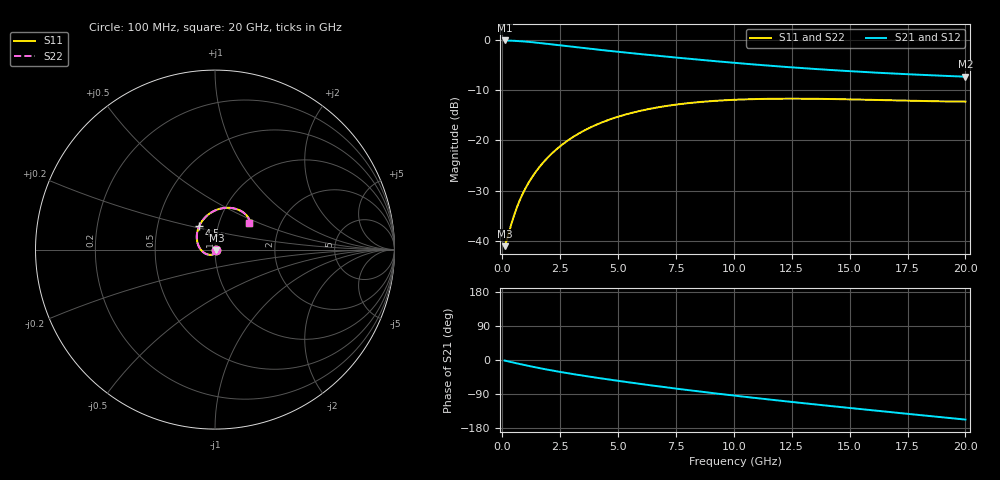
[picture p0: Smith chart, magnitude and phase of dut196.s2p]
! Touchstone file exported from HFSS 2024.1.0
!  File:  C:/UserFiles/LocalFiles/RDL_TSV_Batchsim/temp_RDL_TSV_196_1779442587.aedt
!  Generated:  05:52:52 PM May 22, 2026
!  Design:  RDL_TSV
!  Project:  temp_RDL_TSV_196_1779442587
!  Setup:  Setup1
!  Solution:  Sweep
! Variables:
!  dtsv = 8.73um
!  hbump = 3um
!  htsv = 94.25um
!  ldown = 172.38um
!  lrdl = 362.13um
!  p = 40
!  p1 = 45.03um
!  rhole = 10um
!  subl = 1965.66um
!  t = 450um
!  tdown = 2.34um
!  trdl = 4.27um
!  viad = 10um
!  wdown = 27.72um
!  wrdl = 24.48um
!  xbump = 18um
# GHz S MA R 50.000000
! Terminal data exported
! Port[1] = TM1_1_T1
! Port[2] = TM1_4_T1
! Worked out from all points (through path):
!   200 points, 100 MHz to 20 GHz, reference 50 ohm
!   highest |S21| = -0.09 dB at 100 MHz (marker M1); lowest = -7.3 dB at 20 GHz (marker M2)
!   group delay of S21, straight-line fit = 20.6 ps
!   lowest |S11| = -41.1 dB at 100 MHz (marker M3), VSWR 1.02, Z = 50.8 - j0.339 ohm
!   |S11| at or under -10 dB: start of sweep to end of sweep
!   |S22| runs from -41.1 to -11.7 dB; largest |S21 - S12| = 1.4e-14
!   S11 on the Smith chart (normalised r, x): 100 MHz: 1.02, -0.01; 4.5 GHz: 0.81, +0.22; 20 GHz: 1.39, +0.44
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0.1  0.008834 -22.2  0.9896 -1.5  0.9896 -1.5  0.008826 -22.4
! Gamma 0 0 0 0
! Port Impedance 50 0 50 0
0.2  0.0103 -41.7  0.9882 -2.9  0.9882 -2.9  0.01031 -42.0
0.5  0.01767 -81.9  0.9817 -7.1  0.9817 -7.1  0.01777 -82.1
0.7  0.02364 -99.8  0.9757 -9.8  0.9757 -9.8  0.02379 -100.0
1  0.03328 -120.9  0.9641 -13.8  0.9641 -13.8  0.0335 -120.9
1.3  0.0435 -138.1  0.9501 -17.7  0.9501 -17.7  0.04377 -138.0
1.5  0.05056 -148.1  0.9398 -20.2  0.9398 -20.2  0.05085 -148.1
1.8  0.06144 -161.6  0.9235 -23.7  0.9235 -23.7  0.06176 -161.5
2.3  0.08002 179.2  0.8954 -29.3  0.8954 -29.3  0.08035 179.4
2.9  0.1024 160.4  0.8625 -35.6  0.8625 -35.6  0.1027 160.5
3.5  0.124 144.8  0.8315 -41.4  0.8315 -41.4  0.1243 145.0
4.5  0.1572 124.2  0.7846 -50.6  0.7846 -50.6  0.1574 124.3
5.6  0.1882 106.6  0.7385 -60.1  0.7385 -60.1  0.1883 106.7
6.8  0.2149 91.6  0.6932 -69.9  0.6932 -69.9  0.2149 91.7
8.4  0.2396 76.1  0.6394 -82.3  0.6394 -82.3  0.2395 76.2
10.1  0.2543 63.6  0.5902 -94.5  0.5902 -94.5  0.254 63.7
11.7  0.2599 54.8  0.551 -105.4  0.551 -105.4  0.2595 54.8
13.4  0.2598 47.7  0.5163 -116.5  0.5163 -116.5  0.2594 47.8
15  0.2563 43.1  0.4894 -126.6  0.4894 -126.6  0.2558 43.1
16.7  0.251 39.9  0.4658 -137.1  0.4658 -137.1  0.2505 40.0
18.3  0.2463 38.4  0.4474 -146.9  0.4474 -146.9  0.2457 38.5
20  0.2433 38.0  0.4312 -157.2  0.4312 -157.2  0.2427 38.2
